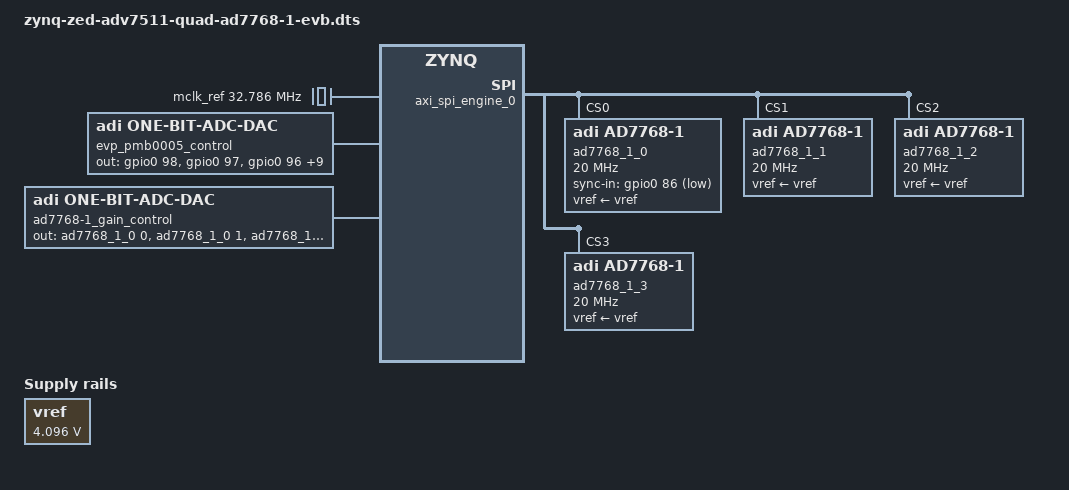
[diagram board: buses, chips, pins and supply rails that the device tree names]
// SPDX-License-Identifier: GPL-2.0
/*
 * Analog Devices AD7768-1
 * https://wiki.analog.com/resources/eval/user-guides/ad7768-1
 *
 * hdl_project: <ad77681evb/zed>
 * board_revision: <B>
 *
 * Copyright (C) 2020 Analog Devices Inc.
*/
/dts-v1/;

#include "zynq-zed.dtsi"
#include "zynq-zed-adv7511.dtsi"
#include <dt-bindings/interrupt-controller/irq.h>
#include <dt-bindings/gpio/gpio.h>

/ {
	vref: regulator-vref {
		compatible = "regulator-fixed";
		regulator-name = "fixed-supply";
		regulator-min-microvolt = <4096000>;
		regulator-max-microvolt = <4096000>;
		regulator-always-on;
	};
	clocks {
		mclk_ref: clock@0 {
			#clock-cells = <0>;
			compatible = "fixed-clock";
			clock-frequency = <32786000>;
		};
	};
	
	evp_pmb0005_control@0 {
		compatible = "adi,one-bit-adc-dac";
		#address-cells = <1>;
		#size-cells = <0>;

		out-gpios = <&gpio0 98 GPIO_ACTIVE_HIGH>,
				<&gpio0 97 GPIO_ACTIVE_HIGH>,
				<&gpio0 96 GPIO_ACTIVE_HIGH>,
				<&gpio0 95 GPIO_ACTIVE_HIGH>,
				<&gpio0 94 GPIO_ACTIVE_HIGH>,
				<&gpio0 93 GPIO_ACTIVE_HIGH>,
				<&gpio0 92 GPIO_ACTIVE_HIGH>,
				<&gpio0 91 GPIO_ACTIVE_HIGH>,
				<&gpio0 90 GPIO_ACTIVE_HIGH>,
				<&gpio0 89 GPIO_ACTIVE_HIGH>,
				<&gpio0 88 GPIO_ACTIVE_HIGH>,
				<&gpio0 87 GPIO_ACTIVE_HIGH>;
		label = "evp_pmb0005_control";

		channel@0 {
			reg = <0>;
			label = "QADC_PWRG_0";
		};
		channel@1 {
			reg = <1>;
			label = "QADC_PWRG_1";
		};
		channel@2 {
			reg = <2>;
			label = "QADC_PWRG_2";
		};
		channel@3 {
			reg = <3>;
			label = "QADC_PWRG_3";
		};
		channel@4 {
			reg = <4>;
			label = "QADC_MUXA_1";
		};
		channel@5 {
			reg = <5>;
			label = "QADC_MUXA_0";
		};
		channel@6 {
			reg = <6>;
			label = "QADC_MUXB_1";
		};
		channel@7 {
			reg = <7>;
			label = "QADC_MUXB_0";
		};
		channel@8 {
			reg = <8>;
			label = "QADC_MUXC_1";
		};
		channel@9 {
			reg = <9>;
			label = "QADC_MUXC_0";
		};
		channel@10 {
			reg = <10>;
			label = "QADC_MUXD_1";
		};
		channel@11 {
			reg = <11>;
			label = "QADC_MUXD_0";
		};
	};

	ad7768-1_gain_control@0 {
		compatible = "adi,one-bit-adc-dac";
		#address-cells = <1>;
		#size-cells = <0>;
		out-gpios = <&ad7768_1_0 0 GPIO_ACTIVE_HIGH>,
				<&ad7768_1_0 1 GPIO_ACTIVE_HIGH>,
				<&ad7768_1_0 2 GPIO_ACTIVE_HIGH>,
				<&ad7768_1_1 0 GPIO_ACTIVE_HIGH>,
				<&ad7768_1_1 1 GPIO_ACTIVE_HIGH>,
				<&ad7768_1_1 2 GPIO_ACTIVE_HIGH>,
				<&ad7768_1_2 0 GPIO_ACTIVE_HIGH>,
				<&ad7768_1_2 1 GPIO_ACTIVE_HIGH>,
				<&ad7768_1_2 2 GPIO_ACTIVE_HIGH>,
				<&ad7768_1_3 0 GPIO_ACTIVE_HIGH>,
				<&ad7768_1_3 1 GPIO_ACTIVE_HIGH>,
				<&ad7768_1_3 2 GPIO_ACTIVE_HIGH>;

		label = "ad7768-1_gain_control";

		channel@0 {
			reg = <0>;
			label = "AD7768-1_0_GAIN_0";
		};
		channel@1 {
			reg = <1>;
			label = "AD7768-1_0_GAIN_1";
		};
		channel@2 {
			reg = <2>;
			label = "AD7768-1_0_GAIN_2";
		};
		channel@3 {
			reg = <3>;
			label = "AD7768-1_1_GAIN_0";
		};
		channel@4 {
			reg = <4>;
			label = "AD7768-1_1_GAIN_1";
		};
		channel@5 {
			reg = <5>;
			label = "AD7768-1_1_GAIN_2";
		};
		channel@6 {
			reg = <6>;
			label = "AD7768-1_2_GAIN_0";
		};
		channel@7 {
			reg = <7>;
			label = "AD7768-1_2_GAIN_1";
		};
		channel@8 {
			reg = <8>;
			label = "AD7768-1_2_GAIN_2";
		};
		channel@9 {
			reg = <9>;
			label = "AD7768-1_3_GAIN_0";
		};
		channel@10 {
			reg = <10>;
			label = "AD7768-1_3_GAIN_1";
		};
		channel@11 {
			reg = <11>;
			label = "AD7768-1_3_GAIN_2";
		};
	};

};

&fpga_axi {
	rx_dma: rx-dmac@0x44a30000 {
		compatible = "adi,axi-dmac-1.00.a";
		reg = <0x44a30000 0x1000>;
		#dma-cells = <1>;
		interrupt-parent = <&intc>;
		interrupts = <0 57 IRQ_TYPE_LEVEL_HIGH>;
		clocks = <&clkc 16>;

		adi,channels {
			#size-cells = <0>;
			#address-cells = <1>;

			dma-channel@0 {
				reg = <0>;
				adi,source-bus-width = <128>;
				adi,source-bus-type = <1>;
				adi,destination-bus-width = <64>;
				adi,destination-bus-type = <0>;
			};
		};
	};


	ad7768_1_mclk: mclk-axi-clkgen@44b00000 {
		compatible = "adi,axi-clkgen-2.00.a";
		reg = <0x44b00000 0x10000>;
		#clock-cells = <0>;
		clocks = <&clkc 15>, <&mclk_ref>;
		clock-names = "s_axi_aclk", "clkin1";
	};

	axi_spi_engine_0: spi@0x44a00000 {
		compatible = "adi,axi-spi-engine-1.00.a";
		reg = <0x44a00000 0x1000>;
		interrupt-parent = <&intc>;
		interrupts = <0 56 IRQ_TYPE_LEVEL_HIGH>;
		clocks = <&clkc 15 &ad7768_1_mclk>;
		clock-names = "s_axi_aclk", "ad7768_1_mclk";
		num-cs = <4>;
		#address-cells = <0x1>;
		#size-cells = <0x0>;

		ad7768_1_0: adc@0 {
			compatible = "adi,ad7768-1";
			reg = <0>;
			spi-max-frequency = <20000000>;
			spi-cpol;
			spi-cpha;
			vref-supply = <&vref>;
			adi,sync-in-gpios = <&gpio0 86 GPIO_ACTIVE_LOW>;
			clocks = <&ad7768_1_mclk>;
			clock-names = "mclk";
			dmas = <&rx_dma 0>;
			dma-names = "rx";
			#io-channel-cells = <1>;
			gpio-controller;
			#gpio-cells = <2>;
		};
		ad7768_1_1: adc@1 {
			compatible = "adi,ad7768-1";
			reg = <1>;
			spi-max-frequency = <20000000>;
			spi-cpol;
			spi-cpha;
			vref-supply = <&vref>;
			clocks = <&ad7768_1_mclk>;
			clock-names = "mclk";
			dmas = <&rx_dma 0>;
			dma-names = "rx";
			#io-channel-cells = <1>;
			gpio-controller;
			#gpio-cells = <2>;
		};

		ad7768_1_2: adc@2 {
			compatible = "adi,ad7768-1";
			reg = <2>;
			spi-max-frequency = <20000000>;
			spi-cpol;
			spi-cpha;
			vref-supply = <&vref>;
			clocks = <&ad7768_1_mclk>;
			clock-names = "mclk";
			dmas = <&rx_dma 0>;
			dma-names = "rx";
			#io-channel-cells = <1>;
			gpio-controller;
			#gpio-cells = <2>;
		};

		ad7768_1_3: adc@3 {
			compatible = "adi,ad7768-1";
			reg = <3>;
			spi-max-frequency = <20000000>;
			spi-cpol;
			spi-cpha;
			vref-supply = <&vref>;
			clocks = <&ad7768_1_mclk>;
			clock-names = "mclk";
			dmas = <&rx_dma 0>;
			dma-names = "rx";
			#io-channel-cells = <1>;
			gpio-controller;
			#gpio-cells = <2>;
		};

	};
};
